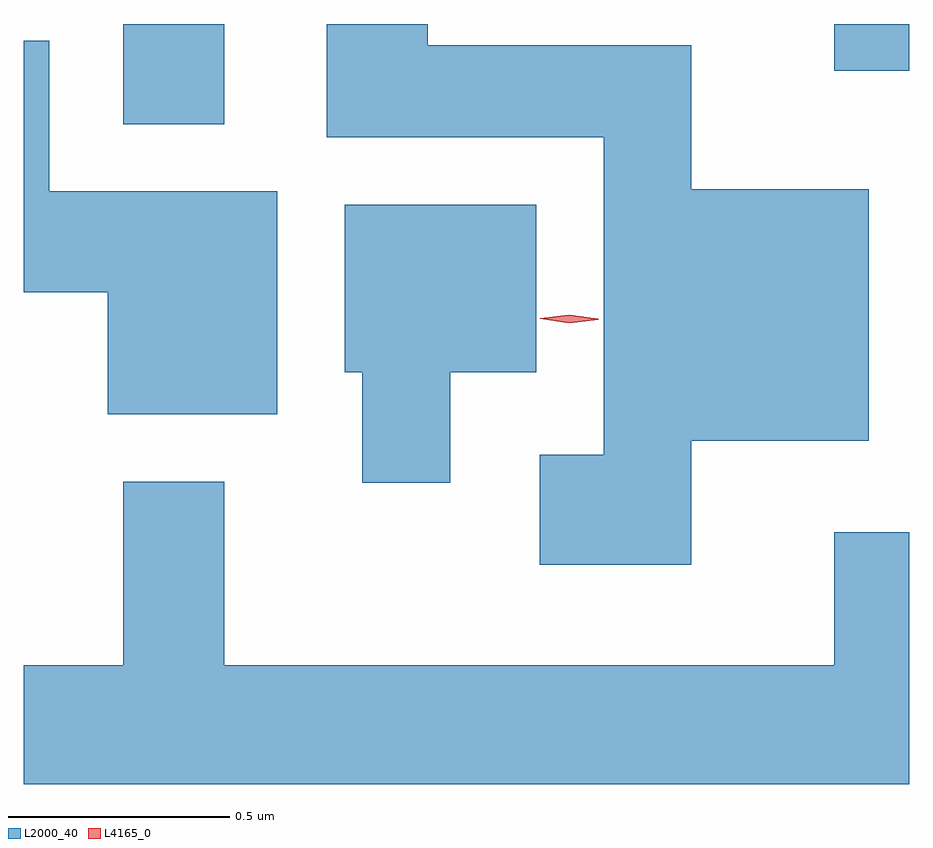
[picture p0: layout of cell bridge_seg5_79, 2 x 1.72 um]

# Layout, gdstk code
import gdstk
lib = gdstk.Library(unit=1e-6, precision=1e-09)
def R(c, l, rs):  # rectangles x0, y0, x1, y1
    for r in rs: c.add(gdstk.rectangle(r[:2], r[2:], *l))
def P(c, l, *ps):  # polygons
    for p in ps: c.add(gdstk.Polygon(p, *l))
L2000_40 = (2000, 40)
L4165_0 = (4165, 0)

bridge_seg5_79 = lib.new_cell('bridge_seg5_79')
R(bridge_seg5_79, L2000_40, [(1292.391,1527.106,1292.619,1527.332), (1293.996,1527.226,1294.166,1527.332)])
P(bridge_seg5_79, L2000_40, [(1293.674,1526.391),(1294.074,1526.391),(1294.074,1526.959),(1293.674,1526.959),(1293.674,1527.284),(1293.079,1527.284),(1293.079,1527.332),(1292.851,1527.332),(1292.851,1527.076),(1293.476,1527.076),(1293.476,1526.359),(1293.331,1526.359),(1293.331,1526.111),(1293.674,1526.111)],
  [(1292.739,1526.954),(1292.224,1526.954),(1292.224,1527.294),(1292.166,1527.294),(1292.166,1526.726),(1292.356,1526.726),(1292.356,1526.451),(1292.739,1526.451)],
  [(1293.129,1526.546),(1293.324,1526.546),(1293.324,1526.924),(1292.891,1526.924),(1292.891,1526.546),(1292.931,1526.546),(1292.931,1526.296),(1293.129,1526.296)],
  [(1294.166,1526.184),(1293.996,1526.184),(1293.996,1525.884),(1292.619,1525.884),(1292.619,1526.299),(1292.391,1526.299),(1292.391,1525.884),(1292.166,1525.884),(1292.166,1525.616),(1294.166,1525.616)])
P(bridge_seg5_79, L4165_0, [(1293.398,1526.656),(1293.332,1526.667),(1293.331,1526.667),(1293.332,1526.668),(1293.398,1526.676),(1293.464,1526.666),(1293.464,1526.665),(1293.464,1526.664)])

lib.write_gds('bridge_seg5_79.gds')
